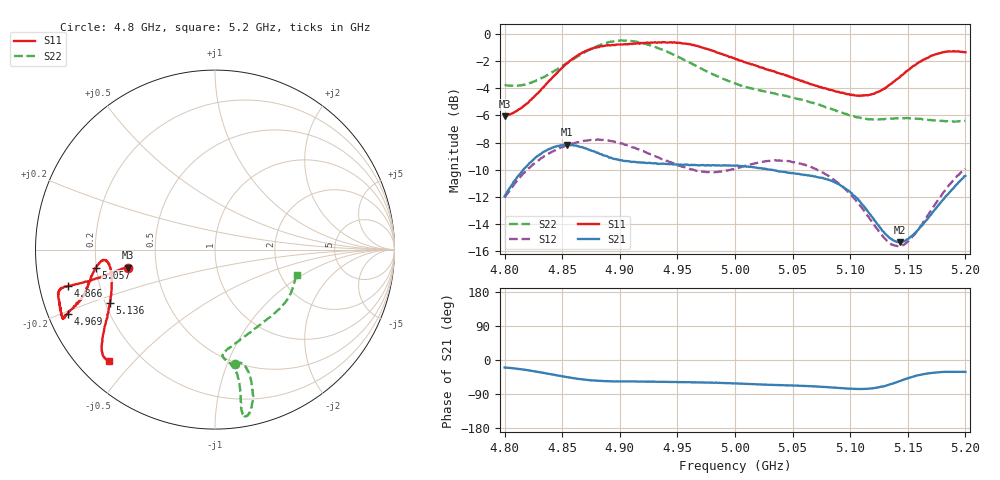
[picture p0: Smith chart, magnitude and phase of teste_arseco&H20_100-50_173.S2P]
! Network Analyzer HP8722D
! Hewlett-Packard
! Data name: Linha & Wilkinson
! Saver's name: Rodrigo Anjos
! Comments: Teste da utilização de aquisição
! continua pelo VNA HP8722D
! Time and date: 6/5/2025 14:00
!  Frequency  S11  S21  S12  S22
# HZ  S  MA R 50
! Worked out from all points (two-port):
!   401 points, 4.8 GHz to 5.2 GHz, reference 50 ohm
!   highest |S21| = -8.16 dB at 4.854 GHz (marker M1); lowest = -15.3 dB at 5.143 GHz (marker M2)
!   |S21| within 3 dB of the highest: 4.806 GHz to 5.092 GHz (285.9 MHz wide, 5.78 % of centre); 5.191524 GHz to end of sweep
!   lowest |S11| = -6.1 dB at 4.8 GHz (marker M3), VSWR 2.98, Z = 16.9 - j4.56 ohm
!   |S11| at or under -10 dB: nowhere
!   |S22| runs from -6.5 to -0.5 dB; largest |S21 - S12| = 0.62
!   S11 on the Smith chart (normalised r, x): 4.8 GHz: 0.34, -0.09; 4.866 GHz: 0.09, -0.12; 4.969 GHz: 0.06, -0.21; 5.057 GHz: 0.20, -0.07; 5.136 GHz: 0.22, -0.23; 5.2 GHz: 0.09, -0.42
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4.8e9  0.4972 -168.3  0.2529 -19.8  0.2497 -141.0  0.6492 -80.3
4.828e9  0.6013 -167.2  0.354 -30.9  0.3394 -145.0  0.6753 -75.4
4.854e9  0.7774 -166.0  0.3909 -45.3  0.3889 -150.1  0.7795 -74.8
4.866e9  0.8446 -166.0  0.3831 -50.5  0.4021 -152.1  0.8386 -75.5
4.867e9  0.85 -166.0  0.3833 -50.9  0.4023 -152.2  0.8434 -75.4
4.879e9  0.8897 -165.7  0.367 -54.5  0.4073 -154.2  0.8941 -76.7
4.899e9  0.912 -163.0  0.3439 -56.7  0.397 -156.9  0.9424 -79.1
4.914e9  0.9204 -159.8  0.3376 -56.6  0.3787 -157.2  0.9359 -80.4
4.934e9  0.9307 -156.6  0.3326 -57.5  0.3505 -155.8  0.8826 -80.5
4.969e9  0.8958 -156.4  0.3283 -59.1  0.3124 -147.4  0.7513 -79.8
5e9  0.8102 -159.0  0.3272 -62.0  0.3198 -137.4  0.6564 -81.3
5.032e9  0.7293 -164.9  0.3161 -65.6  0.342 -134.4  0.606 -85.5
5.057e9  0.6707 -171.3  0.3041 -68.1  0.3331 -136.0  0.5735 -84.9
5.067e9  0.6505 -173.1  0.3007 -69.2  0.3224 -136.8  0.5578 -82.6
5.1e9  0.5955 -172.3  0.2619 -75.6  0.2576 -138.9  0.5023 -67.1
5.115e9  0.5938 -166.0  0.2232 -75.9  0.2145 -136.0  0.4853 -56.5
5.134e9  0.6477 -154.2  0.1778 -65.1  0.1705 -120.6  0.4873 -43.3
5.136e9  0.6562 -153.1  0.1759 -63.2  0.168 -118.1  0.4878 -42.1
5.143e9  0.6916 -149.4  0.1715 -55.7  0.166 -108.9  0.4888 -37.9
5.154e9  0.7566 -144.6  0.1815 -44.4  0.1797 -95.0  0.4876 -32.3
5.172e9  0.834 -139.2  0.2219 -33.7  0.2301 -81.2  0.4809 -24.6
5.2e9  0.855 -133.7  0.3004 -31.5  0.3194 -77.1  0.4784 -17.5
